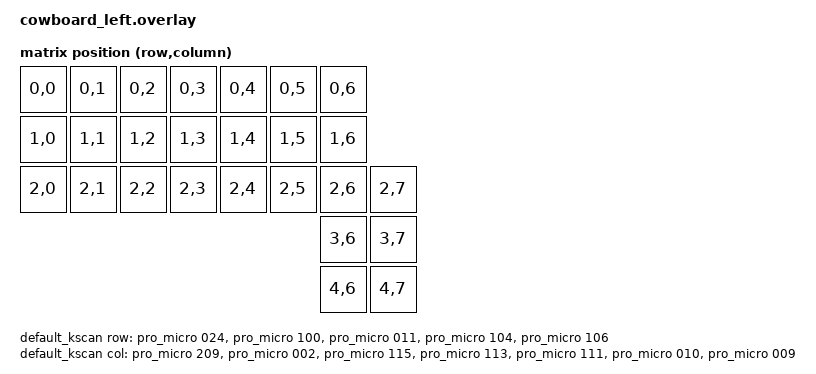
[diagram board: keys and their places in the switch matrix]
#include <dt-bindings/zmk/matrix_transform.h>

/ {
    chosen {
        zmk,kscan = &default_kscan;
        zmk,matrix_transform = &default_transform;
    };

    default_kscan: ksacn {
        compatible = "zmk,kscan-gpio-matrix";
        label = "default_kscan"
        diode-direction = "col2row";
        wakeup-source;

        col-gpios
            = <&pro_micro 209 GPIO_ACTIVE_HIGH>
            , <&pro_micro 002 GPIO_ACTIVE_HIGH>
            , <&pro_micro 115 GPIO_ACTIVE_HIGH>
            , <&pro_micro 113 GPIO_ACTIVE_HIGH>
            , <&pro_micro 111 GPIO_ACTIVE_HIGH>
            , <&pro_micro 010 GPIO_ACTIVE_HIGH>
            , <&pro_micro 009 GPIO_ACTIVE_HIGH>
            ;

        row-gpios
            = <&pro_micro 024 (GPIO_ACTIVE_HIGH | GPIO_PULL_DOWN)>
            , <&pro_micro 100 (GPIO_ACTIVE_HIGH | GPIO_PULL_DOWN)>
            , <&pro_micro 011 (GPIO_ACTIVE_HIGH | GPIO_PULL_DOWN)>
            , <&pro_micro 104 (GPIO_ACTIVE_HIGH | GPIO_PULL_DOWN)>
            , <&pro_micro 106 (GPIO_ACTIVE_HIGH | GPIO_PULL_DOWN)>
            ;
    };
    default_transform: matrix_transform {
        compatible = "zmk,matrix-transform";
        columns = <7>;
        rows = <5>;
        map = <
            RC(0,0) RC(0,1) RC(0,2) RC(0,3) RC(0,4) RC(0,5) RC(0,6)
            RC(1,0) RC(1,1) RC(1,2) RC(1,3) RC(1,4) RC(1,5) RC(1,6)
            RC(2,0) RC(2,1) RC(2,2) RC(2,3) RC(2,4) RC(2,5) RC(2,6) RC(2, 7)
                                                            RC(3,6) RC(3, 7)
                                                            RC(4,6) RC(4, 7)
        >;
    };

};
